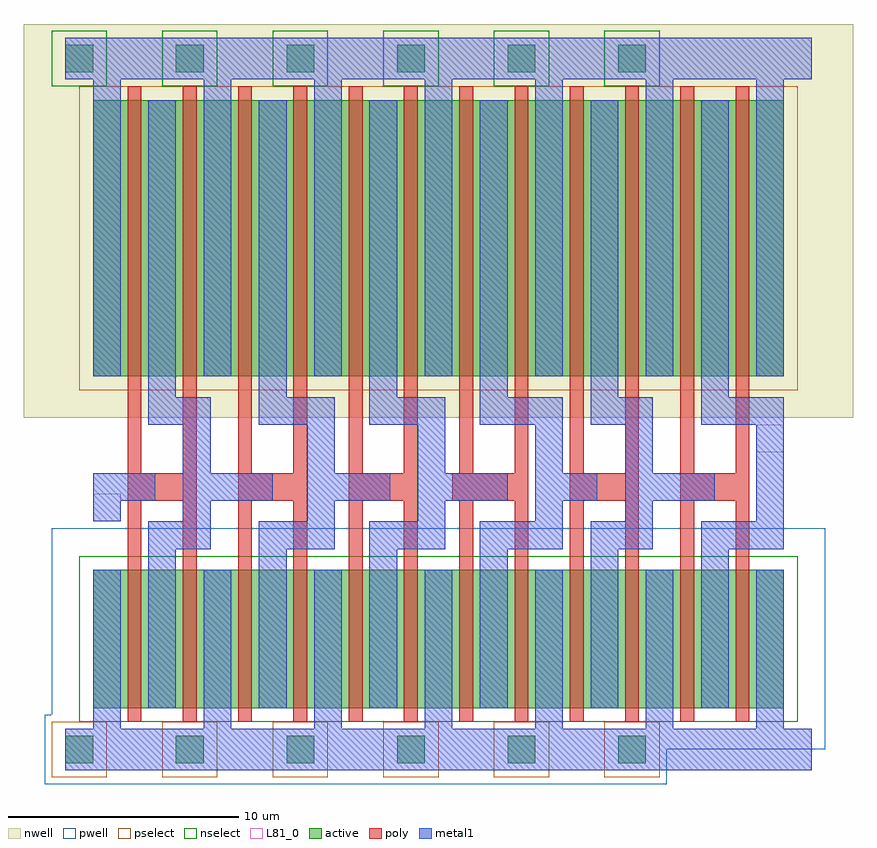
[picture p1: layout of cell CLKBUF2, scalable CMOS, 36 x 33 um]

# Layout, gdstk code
import gdstk
lib = gdstk.Library(unit=1e-6, precision=1e-09)
def R(c, l, rs):  # rectangles x0, y0, x1, y1
    for r in rs: c.add(gdstk.rectangle(r[:2], r[2:], *l))
def A(c, l, x, y, w, h, nx, ny, dx, dy):  # array of equal rectangles
    R(c, l, [(x+i*dx, y+j*dy, x+i*dx+w, y+j*dy+h) for i in range(nx) for j in range(ny)])
pwell = (41, 0)
nwell = (42, 0)
active = (43, 0)
pselect = (44, 0)
nselect = (45, 0)
poly = (46, 0)
metal1 = (49, 0)
L81_0 = (81, 0)

clkbuf2 = lib.new_cell('CLKBUF2')
R(clkbuf2, pwell, [(-1.5,-1.5,25.5,0), (-1.5,0,32.4,1.5), (-1.2,1.5,32.4,9.6)])
R(clkbuf2, nwell, [(-2.4,14.4,33.6,31.5)])
A(clkbuf2, active, -0.6, -0.6, 1.2, 1.2, 6, 2, 4.8, 30)
R(clkbuf2, active, [(0.6,1.8,30.6,7.8), (0.6,16.2,30.6,28.2)])
A(clkbuf2, pselect, -1.2, -1.2, 2.4, 2.4, 6, 1, 4.8, 0)
R(clkbuf2, pselect, [(0,15.6,31.2,28.8)])
A(clkbuf2, nselect, -1.2, 28.8, 2.4, 2.4, 6, 1, 4.8, 0)
R(clkbuf2, nselect, [(0,1.2,31.2,8.4)])
A(clkbuf2, poly, 2.1, 1.2, 0.6, 9.6, 12, 1, 2.4, 0)
A(clkbuf2, poly, 2.1, 10.8, 3, 1.2, 3, 1, 4.8, 0)
A(clkbuf2, poly, 2.1, 12, 0.6, 16.8, 12, 1, 2.4, 0)
R(clkbuf2, poly, [(16.2,10.8,19.5,12), (21.3,10.8,24.3,12), (26.1,10.8,29.1,12)])
A(clkbuf2, metal1, 0.6, 0.9, 1.2, 6.9, 7, 1, 4.8, 0)
A(clkbuf2, metal1, 3, 1.8, 1.2, 6.9, 6, 1, 4.8, 0)
A(clkbuf2, metal1, 3, 15.3, 1.2, 12.9, 6, 1, 4.8, 0)
A(clkbuf2, metal1, 0.6, 16.2, 1.2, 12.9, 7, 1, 4.8, 0)
R(clkbuf2, metal1, [(-0.6,-0.9,31.8,0.9), (3,8.7,5.7,9.9), (7.8,8.7,11.1,9.9), (12.6,8.7,15.9,9.9), (17.4,8.7,21,9.9), (22.2,8.7,24.9,9.9), (27,8.7,30.6,9.9), (0.6,9.9,1.8,10.8), (4.5,9.9,5.7,10.8), (9.9,9.9,11.1,10.8), (14.7,9.9,15.9,10.8), (19.8,9.9,21,10.8), (23.7,9.9,24.9,10.8), (29.4,9.9,30.6,14.1), (0.6,10.8,3.3,12), (4.5,10.8,8.4,12), (9.9,10.8,13.5,12), (14.7,10.8,18.6,12), (19.8,10.8,22.5,12), (23.7,10.8,27.6,12), (4.5,12,5.7,14.1), (9.9,12,11.1,14.1), (14.7,12,15.9,14.1), (19.8,12,21,14.1), (23.7,12,24.9,14.1), (3,14.1,5.7,15.3), (7.8,14.1,11.1,15.3), (12.6,14.1,15.9,15.3), (17.4,14.1,21,15.3), (22.2,14.1,24.9,15.3), (27,14.1,30.6,15.3), (-0.6,29.1,31.8,30.9)])
R(clkbuf2, L81_0, [(0.6,9.9,1.8,11.1), (29.4,12.9,30.6,14.1)])

lib.write_gds('CLKBUF2.gds')
